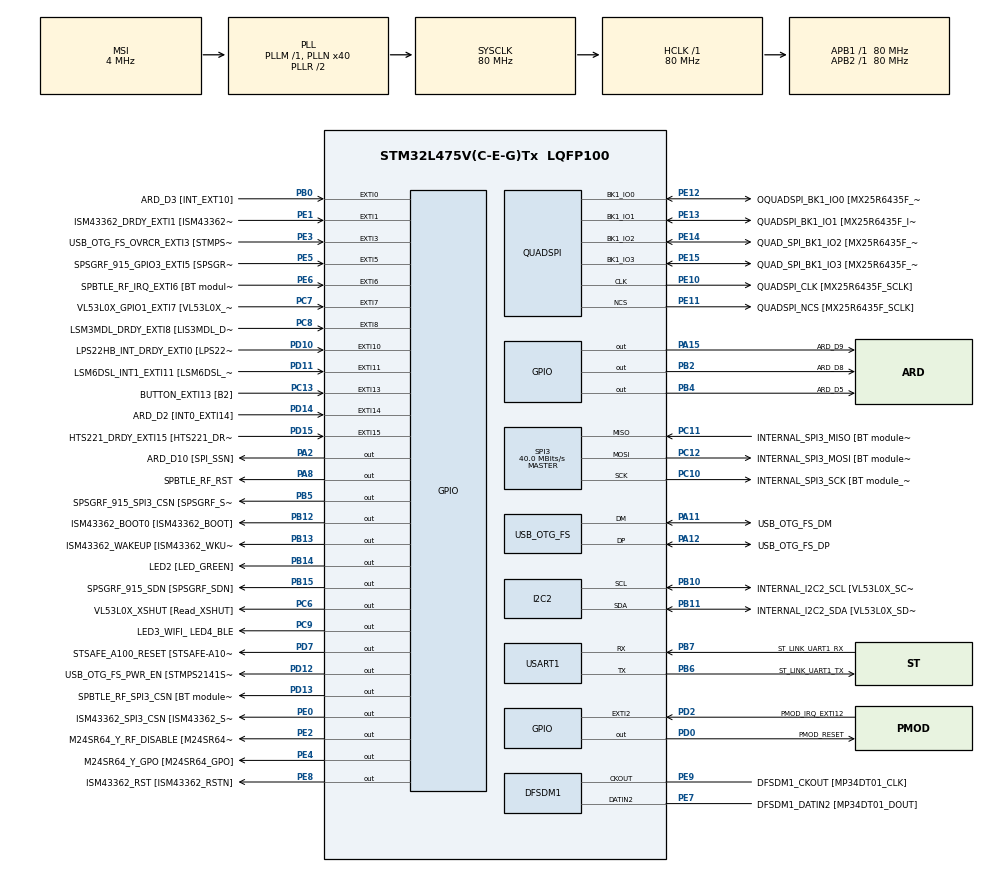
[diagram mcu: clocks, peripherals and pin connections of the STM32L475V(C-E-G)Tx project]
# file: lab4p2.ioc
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Dma.Request0=USART1_RX
Dma.Request1=USART1_TX
Dma.USART1_RX.0.Direction=DMA_PERIPH_TO_MEMORY
Dma.USART1_RX.0.Instance=DMA1_Channel5
Dma.USART1_RX.0.MemDataAlignment=DMA_MDATAALIGN_BYTE
Dma.USART1_RX.0.MemInc=DMA_MINC_ENABLE
Dma.USART1_RX.0.Mode=DMA_NORMAL
Dma.USART1_RX.0.PeriphDataAlignment=DMA_PDATAALIGN_BYTE
Dma.USART1_RX.0.PeriphInc=DMA_PINC_DISABLE
Dma.USART1_RX.0.Priority=DMA_PRIORITY_LOW
Dma.USART1_TX.1.Direction=DMA_MEMORY_TO_PERIPH
Dma.USART1_TX.1.Instance=DMA1_Channel4
Dma.USART1_TX.1.MemDataAlignment=DMA_MDATAALIGN_BYTE
Dma.USART1_TX.1.MemInc=DMA_MINC_ENABLE
Dma.USART1_TX.1.Mode=DMA_NORMAL
Dma.USART1_TX.1.PeriphDataAlignment=DMA_PDATAALIGN_BYTE
Dma.USART1_TX.1.PeriphInc=DMA_PINC_DISABLE
Dma.USART1_TX.1.Priority=DMA_PRIORITY_LOW
FREERTOS.Tasks01=defaultTask,24,128,StartDefaultTask,Default,NULL,Dynamic,NULL,NULL
I2C2.Timing=0x10D19CE4
Mcu.Family=STM32L4
Mcu.Name=STM32L475V(C-E-G)Tx
Mcu.Package=LQFP100
NVIC.DMA1_Channel4_IRQn=true\:5\:0\:false\:false\:true\:true\:false\:true\:true
NVIC.DMA1_Channel5_IRQn=true\:5\:0\:false\:false\:true\:true\:false\:true\:true
NVIC.EXTI15_10_IRQn=true\:5\:0\:false\:false\:true\:true\:true\:true\:true
NVIC.EXTI9_5_IRQn=true\:5\:0\:false\:false\:true\:true\:true\:true\:true
NVIC.PriorityGroup=NVIC_PRIORITYGROUP_4
NVIC.TIM6_DAC_IRQn=true\:15\:0\:false\:false\:true\:false\:false\:true\:true
NVIC.TimeBase=TIM6_DAC_IRQn
NVIC.TimeBaseIP=TIM6
NVIC.USART1_IRQn=true\:5\:0\:false\:false\:true\:true\:true\:true\:true
PA0.GPIO_Label=ARD_D1 [UART4_TX]
PA0.Signal=UART4_TX
PA1.GPIO_Label=ARD_D0 [UART4_RX]
PA1.Signal=UART4_RX
PA10.GPIO_Label=USB_OTG_FS_ID
PA10.Signal=USB_OTG_FS_ID
PA11.GPIO_Label=USB_OTG_FS_DM
PA11.Mode=Device_Only
PA11.Signal=USB_OTG_FS_DM
PA12.GPIO_Label=USB_OTG_FS_DP
PA12.Mode=Device_Only
PA12.Signal=USB_OTG_FS_DP
PA13\ (JTMS-SWDIO).GPIO_Label=SYS_JTMS_SWDIO
PA13\ (JTMS-SWDIO).Mode=Trace_Asynchronous_SW
PA13\ (JTMS-SWDIO).Signal=SYS_JTMS-SWDIO
PA14\ (JTCK-SWCLK).GPIO_Label=SYS_JTCK_SWCLK
PA14\ (JTCK-SWCLK).Mode=Trace_Asynchronous_SW
PA14\ (JTCK-SWCLK).Signal=SYS_JTCK-SWCLK
PA15\ (JTDI).GPIO_Label=ARD_D9
PA15\ (JTDI).Signal=GPIO_Output
PA2.GPIO_Label=ARD_D10 [SPI_SSN]
PA2.Signal=GPIO_Output
PA3.GPIO_Label=ARD_D4
PA3.Signal=S_TIM2_CH4
PA4.GPIO_Label=ARD_D7
PA4.Signal=ADCx_IN9
PA5.GPIO_Label=ARD_D13 [SPI1_SCK]
PA5.Signal=SPI1_SCK
PA6.GPIO_Label=ARD_D12 [SPI1_MISO]
PA6.Signal=SPI1_MISO
PA7.GPIO_Label=ARD_D11 [SPI1_MOSI]
PA7.Signal=SPI1_MOSI
PA8.GPIO_Label=SPBTLE_RF_RST
PA8.Signal=GPIO_Output
PA9.GPIO_Label=USB_OTG_FS_VBUS [STMPS2141STR_OUT]
PA9.Signal=USB_OTG_FS_VBUS
PB0.GPIO_Label=ARD_D3 [INT_EXT10]
PB0.Signal=GPXTI0
PB1.GPIO_Label=ARD_D6 [ADC1_IN6]
PB1.Signal=ADCx_IN16
PB10.GPIO_Label=INTERNAL_I2C2_SCL [VL53L0X_SCL]
PB10.GPIO_Pu=GPIO_PULLUP
PB10.Mode=I2C
PB10.Signal=I2C2_SCL
PB11.GPIO_Label=INTERNAL_I2C2_SDA [VL53L0X_SDA]
PB11.GPIO_Pu=GPIO_PULLUP
PB11.Mode=I2C
PB11.Signal=I2C2_SDA
PB12.GPIO_Label=ISM43362_BOOT0 [ISM43362_BOOT]
PB12.Signal=GPIO_Output
PB13.GPIO_Label=ISM43362_WAKEUP [ISM43362_WKUP]
PB13.Signal=GPIO_Output
PB14.GPIO_Label=LED2 [LED_GREEN]
PB14.Signal=GPIO_Output
PB15.GPIO_Label=SPSGRF_915_SDN [SPSGRF_SDN]
PB15.Signal=GPIO_Output
PB2.GPIO_Label=ARD_D8
PB2.Signal=GPIO_Output
PB3\ (JTDO-TRACESWO).GPIO_Label=SYS_JTD0_SWO
PB3\ (JTDO-TRACESWO).Mode=Trace_Asynchronous_SW
PB3\ (JTDO-TRACESWO).Signal=SYS_JTDO-SWO
PB4\ (NJTRST).GPIO_Label=ARD_D5
PB4\ (NJTRST).Signal=GPIO_Output
PB5.GPIO_Label=SPSGRF_915_SPI3_CSN [SPSGRF_SPI_CS]
PB5.PinState=GPIO_PIN_SET
PB5.Signal=GPIO_Output
PB6.GPIO_Label=ST_LINK_UART1_TX
PB6.Mode=Asynchronous
PB6.Signal=USART1_TX
PB7.GPIO_Label=ST_LINK_UART1_RX
PB7.Mode=Asynchronous
PB7.Signal=USART1_RX
PB8.GPIO_Label=ARD_D15 [I2C1_SCL]
PB8.Signal=I2C1_SCL
PB9.GPIO_Label=ARD_D14 [I2C1_SDA]
PB9.Signal=I2C1_SDA
PC0.GPIO_Label=ARD_A5 [ADC]
PC0.Signal=ADCx_IN1
PC1.GPIO_Label=ARD_A4 [ADC]
PC1.Signal=ADCx_IN2
PC10.GPIO_Label=INTERNAL_SPI3_SCK [BT module_SPI_SCLK] [ISM43362_SCK]
PC10.Mode=Full_Duplex_Master
PC10.Signal=SPI3_SCK
PC11.GPIO_Label=INTERNAL_SPI3_MISO [BT module_SPI_MISO] [ISM43362_MISO]
PC11.Mode=Full_Duplex_Master
PC11.Signal=SPI3_MISO
PC12.GPIO_Label=INTERNAL_SPI3_MOSI [BT module_SPI_MOSI] [ISM43362_MOSI]
PC12.Mode=Full_Duplex_Master
PC12.Signal=SPI3_MOSI
PC13.GPIO_Label=BUTTON_EXTI13 [B2]
PC13.GPIO_ModeDefaultEXTI=GPIO_MODE_IT_FALLING
PC13.Signal=GPXTI13
PC14-OSC32_IN\ (PC14).Mode=LSE-External-Oscillator
PC14-OSC32_IN\ (PC14).Signal=RCC_OSC32_IN
PC15-OSC32_OUT\ (PC15).Mode=LSE-External-Oscillator
PC15-OSC32_OUT\ (PC15).Signal=RCC_OSC32_OUT
PC2.GPIO_Label=ARD_A3 [ADC]
PC2.Signal=ADCx_IN3
PC3.GPIO_Label=ARD_A2 [ADC]
PC3.Signal=ADCx_IN4
PC4.GPIO_Label=ARD_A1 [ADC]
PC4.Signal=ADCx_IN13
PC5.GPIO_Label=ARD_A0 [ADC]
PC5.Signal=ADCx_IN14
PC6.GPIO_Label=VL53L0X_XSHUT [Read_XSHUT]
PC6.Signal=GPIO_Output
PC7.GPIO_Label=VL53L0X_GPIO1_EXTI7 [VL53L0X_GPIO1]
PC7.Signal=GPXTI7
PC8.GPIO_Label=LSM3MDL_DRDY_EXTI8 [LIS3MDL_DRDY]
PC8.Signal=GPXTI8
PC9.GPIO_Label=LED3_WIFI_ LED4_BLE
PC9.Signal=GPIO_Output
PD0.GPIO_Label=PMOD_RESET
PD0.Signal=GPIO_Output
PD1.GPIO_Label=PMOD_SPI2_SCK
PD1.Signal=SPI2_SCK
PD10.GPIO_Label=LPS22HB_INT_DRDY_EXTI0 [LPS22HB_INT_DRDY] 
PD10.Signal=GPXTI10
PD11.GPIO_Label=LSM6DSL_INT1_EXTI11 [LSM6DSL_INT1]
PD11.Signal=GPXTI11
PD12.GPIO_Label=USB_OTG_FS_PWR_EN [STMPS2141STR_EN]
PD12.Signal=GPIO_Output
PD13.GPIO_Label=SPBTLE_RF_SPI3_CSN [BT module_SPI_CS]
PD13.PinState=GPIO_PIN_SET
PD13.Signal=GPIO_Output
PD14.GPIO_Label=ARD_D2 [INT0_EXTI14]
PD14.Signal=GPXTI14
PD15.GPIO_Label=HTS221_DRDY_EXTI15 [HTS221_DRDY]
PD15.Signal=GPXTI15
PD2.GPIO_Label=PMOD_IRQ_EXTI12
PD2.Signal=GPXTI2
PD3.GPIO_Label=PMOD_UART2_CTS
PD3.Signal=USART2_CTS
PD4.GPIO_Label=PMOD_UART2_RTS
PD4.Signal=USART2_RTS
PD5.GPIO_Label=PMOD_UART2_TX
PD5.Signal=USART2_TX
PD6.GPIO_Label=PMOD_UART2_RX
PD6.Signal=USART2_RX
PD7.GPIO_Label=STSAFE_A100_RESET [STSAFE-A100_RESET]
PD7.Signal=GPIO_Output
PD8.GPIO_Label=INTERNAL_UART3_TX [ISM43362_RX]
PD8.Signal=USART3_TX
PD9.GPIO_Label=INTERNAL_UART3_RX [ISM43362_TX]
PD9.Signal=USART3_RX
PE0.GPIO_Label=ISM43362_SPI3_CSN [ISM43362_SSN]
PE0.PinState=GPIO_PIN_SET
PE0.Signal=GPIO_Output
PE1.GPIO_Label=ISM43362_DRDY_EXTI1 [ISM43362_DATARDY]
PE1.Signal=GPXTI1
PE10.GPIO_Label=QUADSPI_CLK [MX25R6435F_SCLK]
PE10.Mode=Single Bank
PE10.Signal=QUADSPI_CLK
PE11.GPIO_Label=QUADSPI_NCS [MX25R6435F_SCLK]
PE11.Mode=Single Bank
PE11.Signal=QUADSPI_NCS
PE12.GPIO_Label=OQUADSPI_BK1_IO0 [MX25R6435F_IO0]
PE12.Mode=Single Bank
PE12.Signal=QUADSPI_BK1_IO0
PE13.GPIO_Label=QUADSPI_BK1_IO1 [MX25R6435F_IO1]
PE13.Mode=Single Bank
PE13.Signal=QUADSPI_BK1_IO1
PE14.GPIO_Label=QUAD_SPI_BK1_IO2 [MX25R6435F_IO2]
PE14.Mode=Single Bank
PE14.Signal=QUADSPI_BK1_IO2
PE15.GPIO_Label=QUAD_SPI_BK1_IO3 [MX25R6435F_IO3]
PE15.Mode=Single Bank
PE15.Signal=QUADSPI_BK1_IO3
PE2.GPIO_Label=M24SR64_Y_RF_DISABLE [M24SR64_RFDIS]
PE2.Signal=GPIO_Output
PE3.GPIO_Label=USB_OTG_FS_OVRCR_EXTI3 [STMPS2141STR_FAULT]
PE3.Signal=GPXTI3
PE4.GPIO_Label=M24SR64_Y_GPO [M24SR64_GPO]
PE4.Signal=GPIO_Output
PE5.GPIO_Label=SPSGRF_915_GPIO3_EXTI5 [SPSGRF_GPIO_3]
PE5.Signal=GPXTI5
PE6.GPIO_Label=SPBTLE_RF_IRQ_EXTI6 [BT module_SPI_IRQ]
PE6.Signal=GPXTI6
PE7.GPIO_Label=DFSDM1_DATIN2 [MP34DT01_DOUT]
PE7.Signal=S_DATAIN2DFSDM1
PE8.GPIO_Label=ISM43362_RST [ISM43362_RSTN]
PE8.Signal=GPIO_Output
PE9.GPIO_Label=DFSDM1_CKOUT [MP34DT01_CLK]
PE9.Signal=S_CKOUTDFSDM1
ProjectManager.HeapSize=0x200
ProjectManager.StackSize=0x400
ProjectManager.TargetToolchain=STM32CubeIDE
QUADSPI.ClockPrescaler=2
QUADSPI.FifoThreshold=4
QUADSPI.FlashSize=23
QUADSPI.SampleShifting=QSPI_SAMPLE_SHIFTING_HALFCYCLE
RCC.ADCFreq_Value=48000000
RCC.AHBFreq_Value=80000000
RCC.APB1Freq_Value=80000000
RCC.APB1TimFreq_Value=80000000
RCC.APB2Freq_Value=80000000
RCC.APB2TimFreq_Value=80000000
RCC.CortexFreq_Value=80000000
RCC.HCLKFreq_Value=80000000
RCC.HSE_VALUE=8000000
RCC.HSI_VALUE=16000000
RCC.MSI_VALUE=4000000
RCC.PLLN=40
RCC.PLLSAI1N=24
RCC.SYSCLKFreq_VALUE=80000000
RCC.SYSCLKSource=RCC_SYSCLKSOURCE_PLLCLK
RCC.USBFreq_Value=48000000
RCC.VCOOutputFreq_Value=160000000
SH.ADCx_IN1.0=ADC1_IN1
SH.ADCx_IN13.0=ADC1_IN13
SH.ADCx_IN14.0=ADC1_IN14
SH.ADCx_IN16.0=ADC1_IN16
SH.ADCx_IN2.0=ADC1_IN2
SH.ADCx_IN3.0=ADC1_IN3
SH.ADCx_IN4.0=ADC1_IN4
SH.ADCx_IN9.0=ADC1_IN9
SH.S_CKOUTDFSDM1.0=DFSDM1_CKOUT,CKOUT
SH.S_CKOUTDFSDM1.1=DFSDM1_CKOUT,PDM_SPI_Input_from_ch12_and_Internal_Clock
SH.S_DATAIN2DFSDM1.0=DFSDM1_DATIN2,PDM_SPI_Input_from_ch12_and_Internal_Clock
SH.S_TIM2_CH4.0=TIM2_CH4
SPI3.CalculateBaudRate=40.0 MBits/s
SPI3.Direction=SPI_DIRECTION_2LINES
SPI3.Mode=SPI_MODE_MASTER
SPI3.VirtualType=VM_MASTER
USART1.VirtualMode-Asynchronous=VM_ASYNC
USB_OTG_FS.VirtualMode=Device_Only
VP_FREERTOS_VS_CMSIS_V2.Mode=CMSIS_V2
VP_SYS_VS_tim6.Mode=TIM6
board=B-L475E-IOT01A1

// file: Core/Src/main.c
/* USER CODE BEGIN Header */
/**
  ******************************************************************************
  * @file           : main.c
  * @brief          : Main program body
  ******************************************************************************
  * @attention
  *
  * Copyright (c) 2024 STMicroelectronics.
  * All rights reserved.
  *
  * This software is licensed under terms that can be found in the LICENSE file
  * in the root directory of this software component.
  * If no LICENSE file comes with this software, it is provided AS-IS.
  *
  ******************************************************************************
  */
/* USER CODE END Header */
#include "main.h"
//#include "cmsis_os.h"

/* USER CODE BEGIN Includes */
#include "FreeRTOS.h"
#include "task.h"
#include "timers.h"
#include "queue.h"
#include "semphr.h"
#include "event_groups.h"
#include <stdio.h>
#include <string.h>
#include "../../Drivers/B-L475E-IOT01/stm32l475e_iot01_accelero.h"
#include "../../Drivers/B-L475E-IOT01/stm32l475e_iot01_gyro.h"
#include "../../Drivers/B-L475E-IOT01/stm32l475e_iot01_hsensor.h"
#include "../../Drivers/B-L475E-IOT01/stm32l475e_iot01_magneto.h"
#include "../../Drivers/B-L475E-IOT01/stm32l475e_iot01_psensor.h"
#include "../../Drivers/B-L475E-IOT01/stm32l475e_iot01_tsensor.h"
/* USER CODE END Includes */

/* USER CODE BEGIN PD */
float TEMP_THRESHOLD = 0;
/* USER CODE END PD */

DFSDM_Channel_HandleTypeDef hdfsdm1_channel1;

I2C_HandleTypeDef hi2c2;

QSPI_HandleTypeDef hqspi;

SPI_HandleTypeDef hspi3;

UART_HandleTypeDef huart1;
DMA_HandleTypeDef hdma_usart1_rx;
DMA_HandleTypeDef hdma_usart1_tx;

PCD_HandleTypeDef hpcd_USB_OTG_FS;

/* Definitions for defaultTask */
//osThreadId_t defaultTaskHandle;
//const osThreadAttr_t defaultTask_attributes = {
//  .name = "defaultTask",
//  .stack_size = 128 * 4,
//  .priority = (osPriority_t) osPriorityNormal,
//};
/* USER CODE BEGIN PV */
QueueHandle_t xTempQueue;
TaskHandle_t xHandle1 = NULL;
TaskHandle_t xHandle2 = NULL;
TaskHandle_t xHandle3 = NULL;
uint8_t rx_buff[2];
SemaphoreHandle_t xBinarySemaphore;

/* USER CODE END PV */

void SystemClock_Config(void);
static void MX_GPIO_Init(void);
static void MX_DMA_Init(void);
static void MX_DFSDM1_Init(void);
static void MX_I2C2_Init(void);
static void MX_QUADSPI_Init(void);
static void MX_SPI3_Init(void);
static void MX_USART1_UART_Init(void);
static void MX_USB_OTG_FS_PCD_Init(void);
//void StartDefaultTask(void *argument);

/* USER CODE BEGIN PFP */
void TempDataCollectionTask(void *pvParameters);
void TempProcessingTask(void *pvParameters);
void ToggleLED(int x);
void vHandlerTask( void *pvParameters );

/* USER CODE END PFP */

int main(void)
{

  /* MCU Configuration--------------------------------------------------------*/

  /* Reset of all peripherals, Initializes the Flash interface and the Systick. */
  HAL_Init();

  /* USER CODE BEGIN Init */
  HAL_NVIC_SetPriority(EXTI15_10_IRQn, 5, 0);
  HAL_NVIC_EnableIRQ(EXTI15_10_IRQn);
  MX_GPIO_Init();
  /* USER CODE END Init */

  /* Configure the system clock */
  SystemClock_Config();

  /* Initialize all configured peripherals */
  MX_GPIO_Init();
  MX_DMA_Init();
  MX_DFSDM1_Init();
  MX_I2C2_Init();
  MX_QUADSPI_Init();
  MX_SPI3_Init();
  MX_USART1_UART_Init();
  MX_USB_OTG_FS_PCD_Init();
  /* USER CODE BEGIN 2 */
  xTempQueue = xQueueCreate(10, sizeof(float));

  uint8_t msg[] = "=====> Temperature sensor HTS221 initialized \r\n ";

  if(BSP_TSENSOR_Init()==0){
	  HAL_UART_Transmit(&huart1,msg,sizeof(msg),1000);
  }
  xBinarySemaphore = xSemaphoreCreateBinary();
  /* USER CODE END 2 */

  /* Init scheduler */
  //osKernelInitialize();

  /* USER CODE BEGIN RTOS_QUEUES */
  /* add queues, ... */
  QueueHandle_t xTempQueue;
  if(xTempQueue == NULL){
	  Error_Handler();
  }

  /* USER CODE END RTOS_QUEUES */

  /* Create the thread(s) */
  /* creation of defaultTask */
  //defaultTaskHandle = osThreadNew(StartDefaultTask, NULL, &defaultTask_attributes);

  /* USER CODE BEGIN RTOS_THREADS */
  /* add threads, ... */
  xTaskCreate(TempDataCollectionTask, "TempDataCollection", 128, NULL, 1, &xHandle1);
  xTaskCreate(TempProcessingTask, "TempProcessing", 128, NULL, 2, &xHandle2);
  xTaskCreate( vHandlerTask, "Handler", 128, NULL, 3, &xHandle3);
  vTaskStartScheduler();
  /* USER CODE END RTOS_THREADS */

  /* Start scheduler */
  //osKernelStart();

  /* We should never get here as control is now taken by the scheduler */

  /* Infinite loop */
  /* USER CODE BEGIN WHILE */
  while (1)
  {
	  float temp = BSP_TSENSOR_ReadTemp();
	  char message[200];

//	  sprintf(message, "Temp: %f \r\n\n\0",temp); //Data to send
//	  HAL_UART_Transmit(&huart1, message, strlen(message), HAL_MAX_DELAY); // Using HAL library function
	  HAL_GPIO_TogglePin (GPIOB, LED2_Pin);
	  HAL_Delay(1000);
    /* USER CODE END WHILE */

  }
}

void SystemClock_Config(void)
{
  RCC_OscInitTypeDef RCC_OscInitStruct = {0};
  RCC_ClkInitTypeDef RCC_ClkInitStruct = {0};

  /** Configure the main internal regulator output voltage
  */
  if (HAL_PWREx_ControlVoltageScaling(PWR_REGULATOR_VOLTAGE_SCALE1) != HAL_OK)
  {
    Error_Handler();
  }

  /** Configure LSE Drive Capability
  */
  HAL_PWR_EnableBkUpAccess();
  __HAL_RCC_LSEDRIVE_CONFIG(RCC_LSEDRIVE_LOW);

  /** Initializes the RCC Oscillators according to the specified parameters
  * in the RCC_OscInitTypeDef structure.
  */
  RCC_OscInitStruct.OscillatorType = RCC_OSCILLATORTYPE_LSE|RCC_OSCILLATORTYPE_MSI;
  RCC_OscInitStruct.LSEState = RCC_LSE_ON;
  RCC_OscInitStruct.MSIState = RCC_MSI_ON;
  RCC_OscInitStruct.MSICalibrationValue = 0;
  RCC_OscInitStruct.MSIClockRange = RCC_MSIRANGE_6;
  RCC_OscInitStruct.PLL.PLLState = RCC_PLL_ON;
  RCC_OscInitStruct.PLL.PLLSource = RCC_PLLSOURCE_MSI;
  RCC_OscInitStruct.PLL.PLLM = 1;
  RCC_OscInitStruct.PLL.PLLN = 40;
  RCC_OscInitStruct.PLL.PLLP = RCC_PLLP_DIV7;
  RCC_OscInitStruct.PLL.PLLQ = RCC_PLLQ_DIV2;
  RCC_OscInitStruct.PLL.PLLR = RCC_PLLR_DIV2;
  if (HAL_RCC_OscConfig(&RCC_OscInitStruct) != HAL_OK)
  {
    Error_Handler();
  }

  /** Initializes the CPU, AHB and APB buses clocks
  */
  RCC_ClkInitStruct.ClockType = RCC_CLOCKTYPE_HCLK|RCC_CLOCKTYPE_SYSCLK
                              |RCC_CLOCKTYPE_PCLK1|RCC_CLOCKTYPE_PCLK2;
  RCC_ClkInitStruct.SYSCLKSource = RCC_SYSCLKSOURCE_PLLCLK;
  RCC_ClkInitStruct.AHBCLKDivider = RCC_SYSCLK_DIV1;
  RCC_ClkInitStruct.APB1CLKDivider = RCC_HCLK_DIV1;
  RCC_ClkInitStruct.APB2CLKDivider = RCC_HCLK_DIV1;

  if (HAL_RCC_ClockConfig(&RCC_ClkInitStruct, FLASH_LATENCY_4) != HAL_OK)
  {
    Error_Handler();
  }

  /** Enable MSI Auto calibration
  */
  HAL_RCCEx_EnableMSIPLLMode();
}

static void MX_DFSDM1_Init(void)
{

  hdfsdm1_channel1.Instance = DFSDM1_Channel1;
  hdfsdm1_channel1.Init.OutputClock.Activation = ENABLE;
  hdfsdm1_channel1.Init.OutputClock.Selection = DFSDM_CHANNEL_OUTPUT_CLOCK_SYSTEM;
  hdfsdm1_channel1.Init.OutputClock.Divider = 2;
  hdfsdm1_channel1.Init.Input.Multiplexer = DFSDM_CHANNEL_EXTERNAL_INPUTS;
  hdfsdm1_channel1.Init.Input.DataPacking = DFSDM_CHANNEL_STANDARD_MODE;
  hdfsdm1_channel1.Init.Input.Pins = DFSDM_CHANNEL_FOLLOWING_CHANNEL_PINS;
  hdfsdm1_channel1.Init.SerialInterface.Type = DFSDM_CHANNEL_SPI_RISING;
  hdfsdm1_channel1.Init.SerialInterface.SpiClock = DFSDM_CHANNEL_SPI_CLOCK_INTERNAL;
  hdfsdm1_channel1.Init.Awd.FilterOrder = DFSDM_CHANNEL_FASTSINC_ORDER;
  hdfsdm1_channel1.Init.Awd.Oversampling = 1;
  hdfsdm1_channel1.Init.Offset = 0;
  hdfsdm1_channel1.Init.RightBitShift = 0x00;
  if (HAL_DFSDM_ChannelInit(&hdfsdm1_channel1) != HAL_OK)
  {
    Error_Handler();
  }

}

static void MX_I2C2_Init(void)
{

  hi2c2.Instance = I2C2;
  hi2c2.Init.Timing = 0x10D19CE4;
  hi2c2.Init.OwnAddress1 = 0;
  hi2c2.Init.AddressingMode = I2C_ADDRESSINGMODE_7BIT;
  hi2c2.Init.DualAddressMode = I2C_DUALADDRESS_DISABLE;
  hi2c2.Init.OwnAddress2 = 0;
  hi2c2.Init.OwnAddress2Masks = I2C_OA2_NOMASK;
  hi2c2.Init.GeneralCallMode = I2C_GENERALCALL_DISABLE;
  hi2c2.Init.NoStretchMode = I2C_NOSTRETCH_DISABLE;
  if (HAL_I2C_Init(&hi2c2) != HAL_OK)
  {
    Error_Handler();
  }

  /** Configure Analogue filter
  */
  if (HAL_I2CEx_ConfigAnalogFilter(&hi2c2, I2C_ANALOGFILTER_ENABLE) != HAL_OK)
  {
    Error_Handler();
  }

  /** Configure Digital filter
  */
  if (HAL_I2CEx_ConfigDigitalFilter(&hi2c2, 0) != HAL_OK)
  {
    Error_Handler();
  }

}

static void MX_QUADSPI_Init(void)
{

  /* QUADSPI parameter configuration*/
  hqspi.Instance = QUADSPI;
  hqspi.Init.ClockPrescaler = 2;
  hqspi.Init.FifoThreshold = 4;
  hqspi.Init.SampleShifting = QSPI_SAMPLE_SHIFTING_HALFCYCLE;
  hqspi.Init.FlashSize = 23;
  hqspi.Init.ChipSelectHighTime = QSPI_CS_HIGH_TIME_1_CYCLE;
  hqspi.Init.ClockMode = QSPI_CLOCK_MODE_0;
  if (HAL_QSPI_Init(&hqspi) != HAL_OK)
  {
    Error_Handler();
  }

}

static void MX_SPI3_Init(void)
{

  /* SPI3 parameter configuration*/
  hspi3.Instance = SPI3;
  hspi3.Init.Mode = SPI_MODE_MASTER;
  hspi3.Init.Direction = SPI_DIRECTION_2LINES;
  hspi3.Init.DataSize = SPI_DATASIZE_4BIT;
  hspi3.Init.CLKPolarity = SPI_POLARITY_LOW;
  hspi3.Init.CLKPhase = SPI_PHASE_1EDGE;
  hspi3.Init.NSS = SPI_NSS_SOFT;
  hspi3.Init.BaudRatePrescaler = SPI_BAUDRATEPRESCALER_2;
  hspi3.Init.FirstBit = SPI_FIRSTBIT_MSB;
  hspi3.Init.TIMode = SPI_TIMODE_DISABLE;
  hspi3.Init.CRCCalculation = SPI_CRCCALCULATION_DISABLE;
  hspi3.Init.CRCPolynomial = 7;
  hspi3.Init.CRCLength = SPI_CRC_LENGTH_DATASIZE;
  hspi3.Init.NSSPMode = SPI_NSS_PULSE_ENABLE;
  if (HAL_SPI_Init(&hspi3) != HAL_OK)
  {
    Error_Handler();
  }

}

static void MX_USART1_UART_Init(void)
{

  huart1.Instance = USART1;
  huart1.Init.BaudRate = 115200;
  huart1.Init.WordLength = UART_WORDLENGTH_8B;
  huart1.Init.StopBits = UART_STOPBITS_1;
  huart1.Init.Parity = UART_PARITY_NONE;
  huart1.Init.Mode = UART_MODE_TX_RX;
  huart1.Init.HwFlowCtl = UART_HWCONTROL_NONE;
  huart1.Init.OverSampling = UART_OVERSAMPLING_16;
  huart1.Init.OneBitSampling = UART_ONE_BIT_SAMPLE_DISABLE;
  huart1.AdvancedInit.AdvFeatureInit = UART_ADVFEATURE_NO_INIT;
  if (HAL_UART_Init(&huart1) != HAL_OK)
  {
    Error_Handler();
  }

}

static void MX_USB_OTG_FS_PCD_Init(void)
{

  hpcd_USB_OTG_FS.Instance = USB_OTG_FS;
  hpcd_USB_OTG_FS.Init.dev_endpoints = 6;
  hpcd_USB_OTG_FS.Init.speed = PCD_SPEED_FULL;
  hpcd_USB_OTG_FS.Init.phy_itface = PCD_PHY_EMBEDDED;
  hpcd_USB_OTG_FS.Init.Sof_enable = DISABLE;
  hpcd_USB_OTG_FS.Init.low_power_enable = DISABLE;
  hpcd_USB_OTG_FS.Init.lpm_enable = DISABLE;
  hpcd_USB_OTG_FS.Init.battery_charging_enable = DISABLE;
  hpcd_USB_OTG_FS.Init.use_dedicated_ep1 = DISABLE;
  hpcd_USB_OTG_FS.Init.vbus_sensing_enable = DISABLE;
  if (HAL_PCD_Init(&hpcd_USB_OTG_FS) != HAL_OK)
  {
    Error_Handler();
  }

}

static void MX_DMA_Init(void)
{

  /* DMA controller clock enable */
  __HAL_RCC_DMA1_CLK_ENABLE();

  /* DMA interrupt init */
  /* DMA1_Channel4_IRQn interrupt configuration */
  HAL_NVIC_SetPriority(DMA1_Channel4_IRQn, 5, 0);
  HAL_NVIC_EnableIRQ(DMA1_Channel4_IRQn);
  /* DMA1_Channel5_IRQn interrupt configuration */
  HAL_NVIC_SetPriority(DMA1_Channel5_IRQn, 5, 0);
  HAL_NVIC_EnableIRQ(DMA1_Channel5_IRQn);

}

static void MX_GPIO_Init(void)
{
  GPIO_InitTypeDef GPIO_InitStruct = {0};

  /* GPIO Ports Clock Enable */
  __HAL_RCC_GPIOE_CLK_ENABLE();
  __HAL_RCC_GPIOC_CLK_ENABLE();
  __HAL_RCC_GPIOA_CLK_ENABLE();
  __HAL_RCC_GPIOB_CLK_ENABLE();
  __HAL_RCC_GPIOD_CLK_ENABLE();

  /*Configure GPIO pin Output Level */
  HAL_GPIO_WritePin(GPIOE, M24SR64_Y_RF_DISABLE_Pin|M24SR64_Y_GPO_Pin|ISM43362_RST_Pin, GPIO_PIN_RESET);

  /*Configure GPIO pin Output Level */
  HAL_GPIO_WritePin(GPIOA, ARD_D10_Pin|SPBTLE_RF_RST_Pin|ARD_D9_Pin, GPIO_PIN_RESET);

  /*Configure GPIO pin Output Level */
  HAL_GPIO_WritePin(GPIOB, ARD_D8_Pin|ISM43362_BOOT0_Pin|ISM43362_WAKEUP_Pin|LED2_Pin
                          |SPSGRF_915_SDN_Pin|ARD_D5_Pin, GPIO_PIN_RESET);

  /*Configure GPIO pin Output Level */
  HAL_GPIO_WritePin(GPIOD, USB_OTG_FS_PWR_EN_Pin|PMOD_RESET_Pin|STSAFE_A100_RESET_Pin, GPIO_PIN_RESET);

  /*Configure GPIO pin Output Level */
  HAL_GPIO_WritePin(SPBTLE_RF_SPI3_CSN_GPIO_Port, SPBTLE_RF_SPI3_CSN_Pin, GPIO_PIN_SET);

  /*Configure GPIO pin Output Level */
  HAL_GPIO_WritePin(GPIOC, VL53L0X_XSHUT_Pin|LED3_WIFI__LED4_BLE_Pin, GPIO_PIN_RESET);

  /*Configure GPIO pin Output Level */
  HAL_GPIO_WritePin(SPSGRF_915_SPI3_CSN_GPIO_Port, SPSGRF_915_SPI3_CSN_Pin, GPIO_PIN_SET);

  /*Configure GPIO pin Output Level */
  HAL_GPIO_WritePin(ISM43362_SPI3_CSN_GPIO_Port, ISM43362_SPI3_CSN_Pin, GPIO_PIN_SET);

  /*Configure GPIO pins : M24SR64_Y_RF_DISABLE_Pin M24SR64_Y_GPO_Pin ISM43362_RST_Pin ISM43362_SPI3_CSN_Pin */
  GPIO_InitStruct.Pin = M24SR64_Y_RF_DISABLE_Pin|M24SR64_Y_GPO_Pin|ISM43362_RST_Pin|ISM43362_SPI3_CSN_Pin;
  GPIO_InitStruct.Mode = GPIO_MODE_OUTPUT_PP;
  GPIO_InitStruct.Pull = GPIO_NOPULL;
  GPIO_InitStruct.Speed = GPIO_SPEED_FREQ_LOW;
  HAL_GPIO_Init(GPIOE, &GPIO_InitStruct);

  /*Configure GPIO pins : USB_OTG_FS_OVRCR_EXTI3_Pin SPSGRF_915_GPIO3_EXTI5_Pin SPBTLE_RF_IRQ_EXTI6_Pin ISM43362_DRDY_EXTI1_Pin */
  GPIO_InitStruct.Pin = USB_OTG_FS_OVRCR_EXTI3_Pin|SPSGRF_915_GPIO3_EXTI5_Pin|SPBTLE_RF_IRQ_EXTI6_Pin|ISM43362_DRDY_EXTI1_Pin;
  GPIO_InitStruct.Mode = GPIO_MODE_IT_RISING;
  GPIO_InitStruct.Pull = GPIO_NOPULL;
  HAL_GPIO_Init(GPIOE, &GPIO_InitStruct);

  /*Configure GPIO pin : BUTTON_EXTI13_Pin */
  GPIO_InitStruct.Pin = BUTTON_EXTI13_Pin;
  GPIO_InitStruct.Mode = GPIO_MODE_IT_FALLING;
  GPIO_InitStruct.Pull = GPIO_NOPULL;
  HAL_GPIO_Init(BUTTON_EXTI13_GPIO_Port, &GPIO_InitStruct);

  /*Configure GPIO pins : ARD_A5_Pin ARD_A4_Pin ARD_A3_Pin ARD_A2_Pin
                           ARD_A1_Pin ARD_A0_Pin */
  GPIO_InitStruct.Pin = ARD_A5_Pin|ARD_A4_Pin|ARD_A3_Pin|ARD_A2_Pin
                          |ARD_A1_Pin|ARD_A0_Pin;
  GPIO_InitStruct.Mode = GPIO_MODE_ANALOG_ADC_CONTROL;
  GPIO_InitStruct.Pull = GPIO_NOPULL;
  HAL_GPIO_Init(GPIOC, &GPIO_InitStruct);

  /*Configure GPIO pins : ARD_D1_Pin ARD_D0_Pin */
  GPIO_InitStruct.Pin = ARD_D1_Pin|ARD_D0_Pin;
  GPIO_InitStruct.Mode = GPIO_MODE_AF_PP;
  GPIO_InitStruct.Pull = GPIO_NOPULL;
  GPIO_InitStruct.Speed = GPIO_SPEED_FREQ_VERY_HIGH;
  GPIO_InitStruct.Alternate = GPIO_AF8_UART4;
  HAL_GPIO_Init(GPIOA, &GPIO_InitStruct);

  /*Configure GPIO pins : ARD_D10_Pin SPBTLE_RF_RST_Pin ARD_D9_Pin */
  GPIO_InitStruct.Pin = ARD_D10_Pin|SPBTLE_RF_RST_Pin|ARD_D9_Pin;
  GPIO_InitStruct.Mode = GPIO_MODE_OUTPUT_PP;
  GPIO_InitStruct.Pull = GPIO_NOPULL;
  GPIO_InitStruct.Speed = GPIO_SPEED_FREQ_LOW;
  HAL_GPIO_Init(GPIOA, &GPIO_InitStruct);

  /*Configure GPIO pin : ARD_D4_Pin */
  GPIO_InitStruct.Pin = ARD_D4_Pin;
  GPIO_InitStruct.Mode = GPIO_MODE_AF_PP;
  GPIO_InitStruct.Pull = GPIO_NOPULL;
  GPIO_InitStruct.Speed = GPIO_SPEED_FREQ_LOW;
  GPIO_InitStruct.Alternate = GPIO_AF1_TIM2;
  HAL_GPIO_Init(ARD_D4_GPIO_Port, &GPIO_InitStruct);

  /*Configure GPIO pin : ARD_D7_Pin */
  GPIO_InitStruct.Pin = ARD_D7_Pin;
  GPIO_InitStruct.Mode = GPIO_MODE_ANALOG_ADC_CONTROL;
  GPIO_InitStruct.Pull = GPIO_NOPULL;
  HAL_GPIO_Init(ARD_D7_GPIO_Port, &GPIO_InitStruct);

  /*Configure GPIO pins : ARD_D13_Pin ARD_D12_Pin ARD_D11_Pin */
  GPIO_InitStruct.Pin = ARD_D13_Pin|ARD_D12_Pin|ARD_D11_Pin;
  GPIO_InitStruct.Mode = GPIO_MODE_AF_PP;
  GPIO_InitStruct.Pull = GPIO_NOPULL;
  GPIO_InitStruct.Speed = GPIO_SPEED_FREQ_VERY_HIGH;
  GPIO_InitStruct.Alternate = GPIO_AF5_SPI1;
  HAL_GPIO_Init(GPIOA, &GPIO_InitStruct);

  /*Configure GPIO pin : ARD_D3_Pin */
  GPIO_InitStruct.Pin = ARD_D3_Pin;
  GPIO_InitStruct.Mode = GPIO_MODE_IT_RISING;
  GPIO_InitStruct.Pull = GPIO_NOPULL;
  HAL_GPIO_Init(ARD_D3_GPIO_Port, &GPIO_InitStruct);

  /*Configure GPIO pin : ARD_D6_Pin */
  GPIO_InitStruct.Pin = ARD_D6_Pin;
  GPIO_InitStruct.Mode = GPIO_MODE_ANALOG_ADC_CONTROL;
  GPIO_InitStruct.Pull = GPIO_NOPULL;
  HAL_GPIO_Init(ARD_D6_GPIO_Port, &GPIO_InitStruct);

  /*Configure GPIO pins : ARD_D8_Pin ISM43362_BOOT0_Pin ISM43362_WAKEUP_Pin LED2_Pin
                           SPSGRF_915_SDN_Pin ARD_D5_Pin SPSGRF_915_SPI3_CSN_Pin */
  GPIO_InitStruct.Pin = ARD_D8_Pin|ISM43362_BOOT0_Pin|ISM43362_WAKEUP_Pin|LED2_Pin
                          |SPSGRF_915_SDN_Pin|ARD_D5_Pin|SPSGRF_915_SPI3_CSN_Pin;
  GPIO_InitStruct.Mode = GPIO_MODE_OUTPUT_PP;
  GPIO_InitStruct.Pull = GPIO_NOPULL;
  GPIO_InitStruct.Speed = GPIO_SPEED_FREQ_LOW;
  HAL_GPIO_Init(GPIOB, &GPIO_InitStruct);

  /*Configure GPIO pins : INTERNAL_UART3_TX_Pin INTERNAL_UART3_RX_Pin */
  GPIO_InitStruct.Pin = INTERNAL_UART3_TX_Pin|INTERNAL_UART3_RX_Pin;
  GPIO_InitStruct.Mode = GPIO_MODE_AF_PP;
  GPIO_InitStruct.Pull = GPIO_NOPULL;
  GPIO_InitStruct.Speed = GPIO_SPEED_FREQ_VERY_HIGH;
  GPIO_InitStruct.Alternate = GPIO_AF7_USART3;
  HAL_GPIO_Init(GPIOD, &GPIO_InitStruct);

  /*Configure GPIO pins : LPS22HB_INT_DRDY_EXTI0_Pin LSM6DSL_INT1_EXTI11_Pin ARD_D2_Pin HTS221_DRDY_EXTI15_Pin
                           PMOD_IRQ_EXTI12_Pin */
  GPIO_InitStruct.Pin = LPS22HB_INT_DRDY_EXTI0_Pin|LSM6DSL_INT1_EXTI11_Pin|ARD_D2_Pin|HTS221_DRDY_EXTI15_Pin
                          |PMOD_IRQ_EXTI12_Pin;
  GPIO_InitStruct.Mode = GPIO_MODE_IT_RISING;
  GPIO_InitStruct.Pull = GPIO_NOPULL;
  HAL_GPIO_Init(GPIOD, &GPIO_InitStruct);

  /*Configure GPIO pins : USB_OTG_FS_PWR_EN_Pin SPBTLE_RF_SPI3_CSN_Pin PMOD_RESET_Pin STSAFE_A100_RESET_Pin */
  GPIO_InitStruct.Pin = USB_OTG_FS_PWR_EN_Pin|SPBTLE_RF_SPI3_CSN_Pin|PMOD_RESET_Pin|STSAFE_A100_RESET_Pin;
  GPIO_InitStruct.Mode = GPIO_MODE_OUTPUT_PP;
  GPIO_InitStruct.Pull = GPIO_NOPULL;
  GPIO_InitStruct.Speed = GPIO_SPEED_FREQ_LOW;
  HAL_GPIO_Init(GPIOD, &GPIO_InitStruct);

  /*Configure GPIO pins : VL53L0X_XSHUT_Pin LED3_WIFI__LED4_BLE_Pin */
  GPIO_InitStruct.Pin = VL53L0X_XSHUT_Pin|LED3_WIFI__LED4_BLE_Pin;
  GPIO_InitStruct.Mode = GPIO_MODE_OUTPUT_PP;
  GPIO_InitStruct.Pull = GPIO_NOPULL;
  GPIO_InitStruct.Speed = GPIO_SPEED_FREQ_LOW;
  HAL_GPIO_Init(GPIOC, &GPIO_InitStruct);

  /*Configure GPIO pins : VL53L0X_GPIO1_EXTI7_Pin LSM3MDL_DRDY_EXTI8_Pin */
  GPIO_InitStruct.Pin = VL53L0X_GPIO1_EXTI7_Pin|LSM3MDL_DRDY_EXTI8_Pin;
  GPIO_InitStruct.Mode = GPIO_MODE_IT_RISING;
  GPIO_InitStruct.Pull = GPIO_NOPULL;
  HAL_GPIO_Init(GPIOC, &GPIO_InitStruct);

  /*Configure GPIO pin : PMOD_SPI2_SCK_Pin */
  GPIO_InitStruct.Pin = PMOD_SPI2_SCK_Pin;
  GPIO_InitStruct.Mode = GPIO_MODE_AF_PP;
  GPIO_InitStruct.Pull = GPIO_NOPULL;
  GPIO_InitStruct.Speed = GPIO_SPEED_FREQ_VERY_HIGH;
  GPIO_InitStruct.Alternate = GPIO_AF5_SPI2;
  HAL_GPIO_Init(PMOD_SPI2_SCK_GPIO_Port, &GPIO_InitStruct);

  /*Configure GPIO pins : PMOD_UART2_CTS_Pin PMOD_UART2_RTS_Pin PMOD_UART2_TX_Pin PMOD_UART2_RX_Pin */
  GPIO_InitStruct.Pin = PMOD_UART2_CTS_Pin|PMOD_UART2_RTS_Pin|PMOD_UART2_TX_Pin|PMOD_UART2_RX_Pin;
  GPIO_InitStruct.Mode = GPIO_MODE_AF_PP;
  GPIO_InitStruct.Pull = GPIO_NOPULL;
  GPIO_InitStruct.Speed = GPIO_SPEED_FREQ_VERY_HIGH;
  GPIO_InitStruct.Alternate = GPIO_AF7_USART2;
  HAL_GPIO_Init(GPIOD, &GPIO_InitStruct);

  /*Configure GPIO pins : ARD_D15_Pin ARD_D14_Pin */
  GPIO_InitStruct.Pin = ARD_D15_Pin|ARD_D14_Pin;
  GPIO_InitStruct.Mode = GPIO_MODE_AF_OD;
  GPIO_InitStruct.Pull = GPIO_NOPULL;
  GPIO_InitStruct.Speed = GPIO_SPEED_FREQ_VERY_HIGH;
  GPIO_InitStruct.Alternate = GPIO_AF4_I2C1;
  HAL_GPIO_Init(GPIOB, &GPIO_InitStruct);

  /* EXTI interrupt init*/
  HAL_NVIC_SetPriority(EXTI9_5_IRQn, 5, 0);
  HAL_NVIC_EnableIRQ(EXTI9_5_IRQn);

  HAL_NVIC_SetPriority(EXTI15_10_IRQn, 5, 0);
  HAL_NVIC_EnableIRQ(EXTI15_10_IRQn);

}

/* USER CODE BEGIN 4 */

//void HAL_UART_RxCpltCallback(UART_HandleTypeDef *huart){
//	HAL_UART_Receive_IT(&huart1,rx_buff,10);
//
//}

void HAL_GPIO_EXTI_Callback(uint16_t GPIO_Pin) {
if (GPIO_Pin == GPIO_PIN_13) {
	BaseType_t xHigherPriorityTaskWoken;
	xHigherPriorityTaskWoken = pdFALSE;
	xSemaphoreGiveFromISR( xBinarySemaphore, &xHigherPriorityTaskWoken );
// if a higher priority task is waiting, context switch to it portYIELD_FROM_ISR( xHigherPriorityTaskWoken );
	}
}

void vHandlerTask( void *pvParameters )
{
	float temp_value;
	for( ;; )
	{
	xSemaphoreTake( xBinarySemaphore, portMAX_DELAY );
	/* This is reached only after event has occurred. Process
	event */
	//temp_value = BSP_TSENSOR_ReadTemp();
	uint8_t Test[] = "Enter a number:\n"; //Data to	send
		HAL_UART_Transmit(&huart1,Test,sizeof(Test),10);//Using HAL	library function
	HAL_UART_Receive(&huart1,rx_buff,sizeof(rx_buff),2000);
	HAL_UART_Transmit(&huart1, rx_buff, sizeof(rx_buff), 100);
	TEMP_THRESHOLD = atoi(rx_buff);
	//TEMP_THRESHOLD=temp_value;
	//uint8_t Test[] = "In ISR\n Pushbutton pressed\n"; //Data to	send
	//HAL_UART_Transmit(&huart1,Test,sizeof(Test),10);//Using HAL	library function
	//HAL_UART_Transmit(&huart1,rx_buff,sizeof(rx_buff),10);
	HAL_GPIO_TogglePin (GPIOE, GPIO_PIN_3);
	HAL_Delay(1000);
	}
}

void TempDataCollectionTask(void *pvParameters){
	float temp_value;

	for(;;){
			temp_value = BSP_TSENSOR_ReadTemp();
		  uint8_t msg[] = "got val  \r\n ";
		  HAL_UART_Transmit(&huart1,msg,sizeof(msg),1000);
		  uint8_t msgk[25];

		if(xQueueSend(xTempQueue, &temp_value, portMAX_DELAY) == pdPASS){
			  uint8_t msg2[] = "sent  \r\n ";
			  HAL_UART_Transmit(&huart1,msg2,sizeof(msg2),1000);
		}
		  vTaskDelay(pdMS_TO_TICKS(1000));

	}

}

void TempProcessingTask(void *pvParameters){
	float recTemp;
	int conHigh = 0;

	for(;;){
		if(xQueueReceive(xTempQueue, &recTemp, portMAX_DELAY) == pdTRUE){
			  uint8_t msg[] = "rec val \r\n ";
			  HAL_UART_Transmit(&huart1,msg,sizeof(msg),1000);
			if(recTemp > TEMP_THRESHOLD){
				  uint8_t msg2[] = "val greater than thresh \r\n ";
				  HAL_UART_Transmit(&huart1,msg2,sizeof(msg2),1000);
				conHigh++;
			} else {
				  uint8_t msg3[] = "val less than thresh \r\n ";
				  HAL_UART_Transmit(&huart1,msg3,sizeof(msg3),1000);
				conHigh = 0;
			}

			if(conHigh > 5){
				  uint8_t msg4[] = "toggle LED \r\n ";
				  HAL_UART_Transmit(&huart1,msg4,sizeof(msg4),1000);
				ToggleLED(10);
				conHigh = 0;
			}
		}
	}
}

void ToggleLED(int x){
	  uint8_t msg[] = "toggling LED \r\n ";

	for(int i = 0; i < x; i++){
		HAL_UART_Transmit(&huart1,msg,sizeof(msg),1000);
		HAL_GPIO_TogglePin (GPIOB, LED2_Pin);
		HAL_Delay(500);
	}
}

/* USER CODE END 4 */

void StartDefaultTask(void *argument)
{
  /* USER CODE BEGIN 5 */
  /* Infinite loop */
//  for(;;)
//  {
//    osDelay(1);
//  }
  /* USER CODE END 5 */
}

void HAL_TIM_PeriodElapsedCallback(TIM_HandleTypeDef *htim)
{
  if (htim->Instance == TIM6) {
    HAL_IncTick();
  }
}

void Error_Handler(void)
{
  __disable_irq();
  while (1)
  {
  }
}
